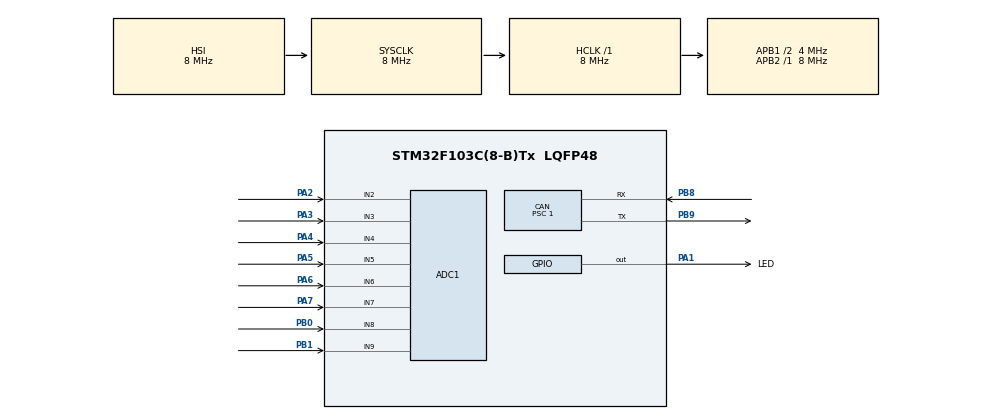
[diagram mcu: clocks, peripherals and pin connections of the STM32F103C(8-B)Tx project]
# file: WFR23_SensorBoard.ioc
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ADC1.Channel-2\#ChannelRegularConversion=ADC_CHANNEL_2
ADC1.Channel-3\#ChannelRegularConversion=ADC_CHANNEL_3
ADC1.Channel-4\#ChannelRegularConversion=ADC_CHANNEL_4
ADC1.Channel-5\#ChannelRegularConversion=ADC_CHANNEL_5
ADC1.Channel-6\#ChannelRegularConversion=ADC_CHANNEL_6
ADC1.Channel-7\#ChannelRegularConversion=ADC_CHANNEL_7
ADC1.Channel-8\#ChannelRegularConversion=ADC_CHANNEL_8
ADC1.Channel-9\#ChannelRegularConversion=ADC_CHANNEL_9
ADC1.ContinuousConvMode=DISABLE
ADC1.DataAlign=ADC_DATAALIGN_LEFT
ADC1.NbrOfConversion=8
ADC1.NbrOfConversionFlag=1
ADC1.Rank-3\#ChannelRegularConversion=2
ADC1.Rank-4\#ChannelRegularConversion=3
ADC1.Rank-5\#ChannelRegularConversion=4
ADC1.Rank-6\#ChannelRegularConversion=5
ADC1.Rank-7\#ChannelRegularConversion=6
ADC1.Rank-8\#ChannelRegularConversion=7
ADC1.Rank-9\#ChannelRegularConversion=8
ADC1.SamplingTime-2\#ChannelRegularConversion=ADC_SAMPLETIME_239CYCLES_5
ADC1.SamplingTime-3\#ChannelRegularConversion=ADC_SAMPLETIME_239CYCLES_5
ADC1.SamplingTime-4\#ChannelRegularConversion=ADC_SAMPLETIME_239CYCLES_5
ADC1.SamplingTime-5\#ChannelRegularConversion=ADC_SAMPLETIME_239CYCLES_5
ADC1.SamplingTime-6\#ChannelRegularConversion=ADC_SAMPLETIME_239CYCLES_5
ADC1.SamplingTime-7\#ChannelRegularConversion=ADC_SAMPLETIME_239CYCLES_5
ADC1.SamplingTime-8\#ChannelRegularConversion=ADC_SAMPLETIME_239CYCLES_5
ADC1.SamplingTime-9\#ChannelRegularConversion=ADC_SAMPLETIME_239CYCLES_5
ADC1.master=1
CAN.ABOM=ENABLE
CAN.AWUM=ENABLE
CAN.BS1=CAN_BS1_3TQ
CAN.BS2=CAN_BS2_4TQ
CAN.CalculateBaudRate=500000
CAN.CalculateTimeBit=2000
CAN.CalculateTimeQuantum=250.0
CAN.Mode=CAN_MODE_NORMAL
CAN.NART=ENABLE
CAN.Prescaler=1
Dma.ADC1.0.Direction=DMA_PERIPH_TO_MEMORY
Dma.ADC1.0.Instance=DMA1_Channel1
Dma.ADC1.0.MemDataAlignment=DMA_MDATAALIGN_WORD
Dma.ADC1.0.MemInc=DMA_MINC_ENABLE
Dma.ADC1.0.Mode=DMA_NORMAL
Dma.ADC1.0.PeriphDataAlignment=DMA_PDATAALIGN_WORD
Dma.ADC1.0.PeriphInc=DMA_PINC_DISABLE
Dma.ADC1.0.Priority=DMA_PRIORITY_LOW
Dma.Request0=ADC1
Mcu.Family=STM32F1
Mcu.Name=STM32F103C(8-B)Tx
Mcu.Package=LQFP48
NVIC.DMA1_Channel1_IRQn=true\:0\:0\:false\:false\:true\:false\:true\:true
NVIC.PriorityGroup=NVIC_PRIORITYGROUP_4
NVIC.USB_LP_CAN1_RX0_IRQn=true\:0\:0\:false\:false\:true\:true\:true\:true
PA1.GPIO_Label=LED
PA1.Signal=GPIO_Output
PA13.Mode=Serial_Wire
PA13.Signal=SYS_JTMS-SWDIO
PA14.Mode=Serial_Wire
PA14.Signal=SYS_JTCK-SWCLK
PA2.Signal=ADCx_IN2
PA3.Signal=ADCx_IN3
PA4.Signal=ADCx_IN4
PA5.Signal=ADCx_IN5
PA6.Signal=ADCx_IN6
PA7.Signal=ADCx_IN7
PB0.Signal=ADCx_IN8
PB1.Signal=ADCx_IN9
PB8.GPIO_PuPd=GPIO_PULLUP
PB8.Mode=CAN_Activate
PB8.Signal=CAN_RX
PB9.Mode=CAN_Activate
PB9.Signal=CAN_TX
ProjectManager.HeapSize=0x200
ProjectManager.StackSize=0x400
ProjectManager.TargetToolchain=STM32CubeIDE
RCC.AHBFreq_Value=8000000
RCC.APB1CLKDivider=RCC_HCLK_DIV2
RCC.APB1Freq_Value=4000000
RCC.APB1TimFreq_Value=8000000
RCC.APB2Freq_Value=8000000
RCC.APB2TimFreq_Value=8000000
RCC.HCLKFreq_Value=8000000
RCC.PLLMUL=RCC_PLL_MUL9
RCC.SYSCLKFreq_VALUE=8000000
RCC.USBFreq_Value=36000000
SH.ADCx_IN2.0=ADC1_IN2,IN2
SH.ADCx_IN3.0=ADC1_IN3,IN3
SH.ADCx_IN4.0=ADC1_IN4,IN4
SH.ADCx_IN5.0=ADC1_IN5,IN5
SH.ADCx_IN6.0=ADC1_IN6,IN6
SH.ADCx_IN7.0=ADC1_IN7,IN7
SH.ADCx_IN8.0=ADC1_IN8,IN8
SH.ADCx_IN9.0=ADC1_IN9,IN9
board=custom

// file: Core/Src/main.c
/* USER CODE BEGIN Header */
/**
  ******************************************************************************
  * @file           : main.c
  * @brief          : Main program body
  ******************************************************************************
  * @attention
  *
  * Copyright (c) 2023 STMicroelectronics.
  * All rights reserved.
  *
  * This software is licensed under terms that can be found in the LICENSE file
  * in the root directory of this software component.
  * If no LICENSE file comes with this software, it is provided AS-IS.
  *
  ******************************************************************************
  */
/* USER CODE END Header */
#include "main.h"

/* USER CODE BEGIN Includes */
#include "stdio.h"
/* USER CODE END Includes */

ADC_HandleTypeDef hadc1;
DMA_HandleTypeDef hdma_adc1;

CAN_HandleTypeDef hcan;

/* USER CODE BEGIN PV */
volatile uint32_t sensorValues[8];
const int dataLength = sizeof(sensorValues) / sizeof(sensorValues[0]);

volatile int adcReady = 0;
/* USER CODE END PV */

void SystemClock_Config(void);
static void MX_GPIO_Init(void);
static void MX_DMA_Init(void);
static void MX_ADC1_Init(void);
static void MX_CAN_Init(void);

int main(void)
{
  /* USER CODE BEGIN 1 */
	printf("size of sensorValues: %d size of sensorValues[0]: %d \n", sizeof(sensorValues) , sizeof(sensorValues[0]));
  /* USER CODE END 1 */

  /* MCU Configuration--------------------------------------------------------*/

  /* Reset of all peripherals, Initializes the Flash interface and the Systick. */
  HAL_Init();

  /* USER CODE BEGIN Init */
  CAN_TxHeaderTypeDef   TxHeader;
  uint8_t               TxData[8];
  uint32_t              TxMailbox;

  /* USER CODE END Init */

  /* Configure the system clock */
  SystemClock_Config();

  /* Initialize all configured peripherals */
  MX_GPIO_Init();
  MX_DMA_Init();
  MX_ADC1_Init();
  MX_CAN_Init();
  /* USER CODE BEGIN 2 */

  HAL_CAN_Start(&hcan);
  int i = 0;

  /* USER CODE END 2 */

  /* Infinite loop */
  while (1)
  {

    /* USER CODE BEGIN 3 */

	  //@todo might need to add some digital filtering if the hardware filter isn't enough
	  HAL_ADC_Start_DMA(&hadc1, sensorValues, dataLength); // start adc in DMA mode
	  //HAL_CAN_Start(&hcan);
	  HAL_GPIO_TogglePin(LED_GPIO_Port, LED_Pin);
	  	  while(adcReady == 0){

	  	  }
	  adcReady = 0;
	  printf("s1: %x s2: %x s3: %x s4: %x s5: %x s6: %x s7: %x s8: %x \n", sensorValues[0], sensorValues[1], sensorValues[2], sensorValues[3], sensorValues[4], sensorValues[5], sensorValues[6], sensorValues[7]);

	  TxHeader.IDE = CAN_ID_STD;
	  TxHeader.RTR = CAN_RTR_DATA;
	  TxHeader.DLC = 8;

	  //**Send the first set of sensors:
	  TxHeader.StdId = 0x103;
	  TxData[0] = sensorValues[0] >>8;
	  TxData[1] = sensorValues[0] & 0x00ff;
	  TxData[2] = sensorValues[1] >>8;
	  TxData[3] = sensorValues[1] & 0x00ff;
	  TxData[4] = sensorValues[2] >>8;
	  TxData[5] = sensorValues[2] & 0x00ff;
	  TxData[6] = sensorValues[3] >>8;
	  TxData[7] = sensorValues[3] & 0x00ff;
	  // we shift the bits to split a 16bit value into 2 8 bit values
	  if (HAL_CAN_AddTxMessage(&hcan, &TxHeader, TxData, &TxMailbox) != HAL_OK)
	  {
	     Error_Handler ();
	  }
	  //*********************************
	  //**Send the second set of sensors:
	  TxHeader.StdId = 0x104;
	  TxData[0] = sensorValues[4] >>8;
	  TxData[1] = sensorValues[4] & 0x00ff;
	  TxData[2] = sensorValues[5] >>8;
	  TxData[3] = sensorValues[5] & 0x00ff;
	  TxData[4] = sensorValues[6] >>8;
	  TxData[5] = sensorValues[6] & 0x00ff;
	  TxData[6] = sensorValues[7] >>8;
	  TxData[7] = sensorValues[7] & 0x00ff;

	  if (HAL_CAN_AddTxMessage(&hcan, &TxHeader, (uint8_t*)TxData, &TxMailbox) != HAL_OK)
	  {
		 Error_Handler ();
	  }
	  //*********************************

	  HAL_Delay(100);
  }
  /* USER CODE END 3 */
}

void SystemClock_Config(void)
{
  RCC_OscInitTypeDef RCC_OscInitStruct = {0};
  RCC_ClkInitTypeDef RCC_ClkInitStruct = {0};
  RCC_PeriphCLKInitTypeDef PeriphClkInit = {0};

  /** Initializes the RCC Oscillators according to the specified parameters
  * in the RCC_OscInitTypeDef structure.
  */
  RCC_OscInitStruct.OscillatorType = RCC_OSCILLATORTYPE_HSI;
  RCC_OscInitStruct.HSIState = RCC_HSI_ON;
  RCC_OscInitStruct.HSICalibrationValue = RCC_HSICALIBRATION_DEFAULT;
  RCC_OscInitStruct.PLL.PLLState = RCC_PLL_NONE;
  if (HAL_RCC_OscConfig(&RCC_OscInitStruct) != HAL_OK)
  {
    Error_Handler();
  }

  /** Initializes the CPU, AHB and APB buses clocks
  */
  RCC_ClkInitStruct.ClockType = RCC_CLOCKTYPE_HCLK|RCC_CLOCKTYPE_SYSCLK
                              |RCC_CLOCKTYPE_PCLK1|RCC_CLOCKTYPE_PCLK2;
  RCC_ClkInitStruct.SYSCLKSource = RCC_SYSCLKSOURCE_HSI;
  RCC_ClkInitStruct.AHBCLKDivider = RCC_SYSCLK_DIV1;
  RCC_ClkInitStruct.APB1CLKDivider = RCC_HCLK_DIV2;
  RCC_ClkInitStruct.APB2CLKDivider = RCC_HCLK_DIV1;

  if (HAL_RCC_ClockConfig(&RCC_ClkInitStruct, FLASH_LATENCY_0) != HAL_OK)
  {
    Error_Handler();
  }
  PeriphClkInit.PeriphClockSelection = RCC_PERIPHCLK_ADC;
  PeriphClkInit.AdcClockSelection = RCC_ADCPCLK2_DIV2;
  if (HAL_RCCEx_PeriphCLKConfig(&PeriphClkInit) != HAL_OK)
  {
    Error_Handler();
  }
}

static void MX_ADC1_Init(void)
{

  ADC_ChannelConfTypeDef sConfig = {0};

  /** Common config
  */
  hadc1.Instance = ADC1;
  hadc1.Init.ScanConvMode = ADC_SCAN_ENABLE;
  hadc1.Init.ContinuousConvMode = DISABLE;
  hadc1.Init.DiscontinuousConvMode = DISABLE;
  hadc1.Init.ExternalTrigConv = ADC_SOFTWARE_START;
  hadc1.Init.DataAlign = ADC_DATAALIGN_LEFT;
  hadc1.Init.NbrOfConversion = 8;
  if (HAL_ADC_Init(&hadc1) != HAL_OK)
  {
    Error_Handler();
  }

  /** Configure Regular Channel
  */
  sConfig.Channel = ADC_CHANNEL_2;
  sConfig.Rank = ADC_REGULAR_RANK_1;
  sConfig.SamplingTime = ADC_SAMPLETIME_239CYCLES_5;
  if (HAL_ADC_ConfigChannel(&hadc1, &sConfig) != HAL_OK)
  {
    Error_Handler();
  }

  /** Configure Regular Channel
  */
  sConfig.Channel = ADC_CHANNEL_3;
  sConfig.Rank = ADC_REGULAR_RANK_2;
  if (HAL_ADC_ConfigChannel(&hadc1, &sConfig) != HAL_OK)
  {
    Error_Handler();
  }

  /** Configure Regular Channel
  */
  sConfig.Channel = ADC_CHANNEL_4;
  sConfig.Rank = ADC_REGULAR_RANK_3;
  if (HAL_ADC_ConfigChannel(&hadc1, &sConfig) != HAL_OK)
  {
    Error_Handler();
  }

  /** Configure Regular Channel
  */
  sConfig.Channel = ADC_CHANNEL_5;
  sConfig.Rank = ADC_REGULAR_RANK_4;
  if (HAL_ADC_ConfigChannel(&hadc1, &sConfig) != HAL_OK)
  {
    Error_Handler();
  }

  /** Configure Regular Channel
  */
  sConfig.Channel = ADC_CHANNEL_6;
  sConfig.Rank = ADC_REGULAR_RANK_5;
  if (HAL_ADC_ConfigChannel(&hadc1, &sConfig) != HAL_OK)
  {
    Error_Handler();
  }

  /** Configure Regular Channel
  */
  sConfig.Channel = ADC_CHANNEL_7;
  sConfig.Rank = ADC_REGULAR_RANK_6;
  if (HAL_ADC_ConfigChannel(&hadc1, &sConfig) != HAL_OK)
  {
    Error_Handler();
  }

  /** Configure Regular Channel
  */
  sConfig.Channel = ADC_CHANNEL_8;
  sConfig.Rank = ADC_REGULAR_RANK_7;
  if (HAL_ADC_ConfigChannel(&hadc1, &sConfig) != HAL_OK)
  {
    Error_Handler();
  }

  /** Configure Regular Channel
  */
  sConfig.Channel = ADC_CHANNEL_9;
  sConfig.Rank = ADC_REGULAR_RANK_8;
  if (HAL_ADC_ConfigChannel(&hadc1, &sConfig) != HAL_OK)
  {
    Error_Handler();
  }

}

static void MX_CAN_Init(void)
{

  hcan.Instance = CAN1;
  hcan.Init.Prescaler = 1;
  hcan.Init.Mode = CAN_MODE_NORMAL;
  hcan.Init.SyncJumpWidth = CAN_SJW_1TQ;
  hcan.Init.TimeSeg1 = CAN_BS1_3TQ;
  hcan.Init.TimeSeg2 = CAN_BS2_4TQ;
  hcan.Init.TimeTriggeredMode = DISABLE;
  hcan.Init.AutoBusOff = ENABLE;
  hcan.Init.AutoWakeUp = ENABLE;
  hcan.Init.AutoRetransmission = ENABLE;
  hcan.Init.ReceiveFifoLocked = DISABLE;
  hcan.Init.TransmitFifoPriority = DISABLE;
  if (HAL_CAN_Init(&hcan) != HAL_OK)
  {
    Error_Handler();
  }

}

static void MX_DMA_Init(void)
{

  /* DMA controller clock enable */
  __HAL_RCC_DMA1_CLK_ENABLE();

  /* DMA interrupt init */
  /* DMA1_Channel1_IRQn interrupt configuration */
  HAL_NVIC_SetPriority(DMA1_Channel1_IRQn, 0, 0);
  HAL_NVIC_EnableIRQ(DMA1_Channel1_IRQn);

}

static void MX_GPIO_Init(void)
{
  GPIO_InitTypeDef GPIO_InitStruct = {0};

  /* GPIO Ports Clock Enable */
  __HAL_RCC_GPIOA_CLK_ENABLE();
  __HAL_RCC_GPIOB_CLK_ENABLE();

  /*Configure GPIO pin Output Level */
  HAL_GPIO_WritePin(LED_GPIO_Port, LED_Pin, GPIO_PIN_RESET);

  /*Configure GPIO pin : LED_Pin */
  GPIO_InitStruct.Pin = LED_Pin;
  GPIO_InitStruct.Mode = GPIO_MODE_OUTPUT_PP;
  GPIO_InitStruct.Pull = GPIO_NOPULL;
  GPIO_InitStruct.Speed = GPIO_SPEED_FREQ_LOW;
  HAL_GPIO_Init(LED_GPIO_Port, &GPIO_InitStruct);

}

/* USER CODE BEGIN 4 */
void HAL_ADC_ConvCpltCallback(ADC_HandleTypeDef* hadc)
{
  adcReady = 1;
}
/* USER CODE END 4 */

void Error_Handler(void)
{
  __disable_irq();
  while (1)
  {
  }
}
